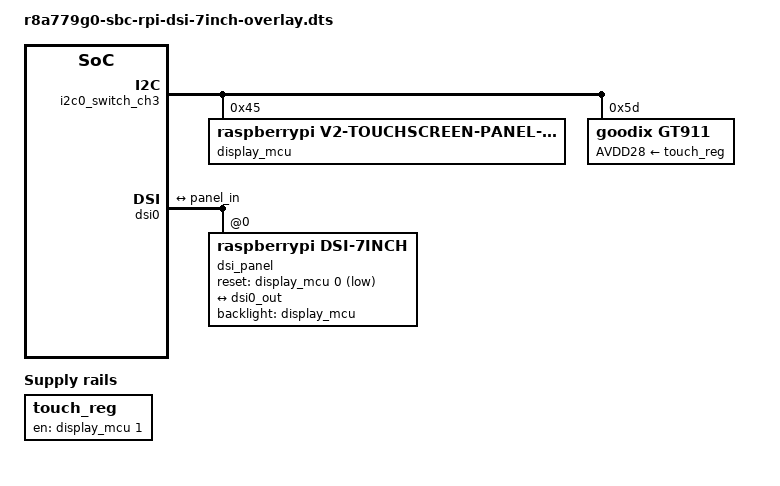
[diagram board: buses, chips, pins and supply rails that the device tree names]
// SPDX-License-Identifier: GPL-2.0
/*
 * Device Tree Overlay for the SBC boards on DSI0 port
 *
 * Copyright (C) Retronix
 */
 
/dts-v1/;
/plugin/;
#include <dt-bindings/gpio/gpio.h>

/ {
	touch_reg: touch_reg@1 {
		reg = <1>;
		compatible = "regulator-fixed";
		regulator-name = "touch_reg_1";
		gpio = <&display_mcu 1 GPIO_ACTIVE_HIGH>;
		startup-delay-us = <50000>;
		enable-active-high;
	};
};

&i2c0_switch_ch3 {
	display_mcu: display_mcu@45
	{
		compatible = "raspberrypi,v2-touchscreen-panel-regulator";
		reg = <0x45>;
		gpio-controller;
		#gpio-cells = <2>;
	};
	
	gt911: gt911@5d {
		compatible = "goodix,gt911";
		reg = <0x5d>;
		AVDD28-supply = <&touch_reg>;
		touchscreen-size-x = <720>;
		touchscreen-size-y = <1280>;
		touchscreen-x-mm = <90>;
		touchscreen-y-mm = <151>;
	};
};

&dsi0 {
	status = "okay";

	use-extal-clk;

	ports {
		port@1 {
			endpoint {
				remote-endpoint = <&panel_in>;
				data-lanes = <1 2>;//<2 1>;//
			};
		};
	};

	dsi_panel: dsi_panel@0 {
		reg = <0>;
		compatible = "raspberrypi,dsi-7inch";
		reset-gpio = <&display_mcu 0 GPIO_ACTIVE_LOW>;
		backlight = <&display_mcu>;

		port {
			panel_in: endpoint {
				remote-endpoint = <&dsi0_out>;
			};
		};
	};
};
